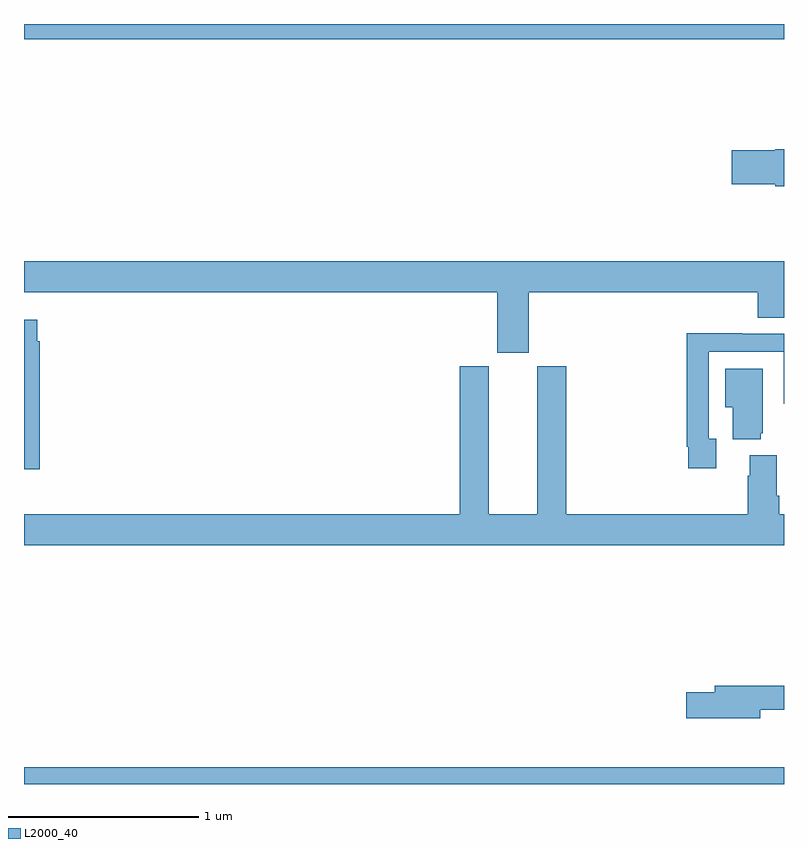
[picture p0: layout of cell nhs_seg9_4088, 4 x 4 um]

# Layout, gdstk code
import gdstk
lib = gdstk.Library(unit=1e-6, precision=1e-09)
def R(c, l, rs):  # rectangles x0, y0, x1, y1
    for r in rs: c.add(gdstk.rectangle(r[:2], r[2:], *l))
def P(c, l, *ps):  # polygons
    for p in ps: c.add(gdstk.Polygon(p, *l))
L2000_40 = (2000, 40)

nhs_seg9_4088 = lib.new_cell('nhs_seg9_4088')
R(nhs_seg9_4088, L2000_40, [(345,1192.5,349,1192.588), (345,1196.42,349,1196.5)])
P(nhs_seg9_4088, L2000_40, [(349,1195.84),(348.954,1195.84),(348.954,1195.835),(348.726,1195.835),(348.726,1195.657),(348.954,1195.657),(348.954,1195.646),(349,1195.646)],
  [(347.656,1195.088),(348.863,1195.088),(348.863,1194.955),(349,1194.955),(349,1195.252),(345,1195.252),(345,1195.088),(347.492,1195.088),(347.492,1194.771),(347.656,1194.771)],
  [(345.083,1194.83),(345.07,1194.83),(345.07,1194.943),(345,1194.943),(345,1194.156),(345.083,1194.156)],
  [(348.643,1194.318),(348.603,1194.318),(348.603,1194.774),(348.999,1194.774),(348.999,1194.501),(349,1194.501),(349,1194.87),(348.779,1194.87),(348.779,1194.872),(348.487,1194.872),(348.487,1194.274),(348.495,1194.274),(348.495,1194.162),(348.643,1194.162)],
  [(349,1193.92),(348.974,1193.92),(348.974,1194.016),(348.961,1194.016),(348.961,1194.229),(348.821,1194.229),(348.821,1194.122),(348.809,1194.122),(348.809,1193.92),(347.855,1193.92),(347.855,1194.699),(347.702,1194.699),(347.702,1193.92),(347.446,1193.92),(347.446,1194.699),(347.294,1194.699),(347.294,1193.92),(345,1193.92),(345,1193.756),(349,1193.756)],
  [(348.878,1194.345),(348.889,1194.345),(348.889,1194.685),(348.692,1194.685),(348.692,1194.482),(348.731,1194.482),(348.731,1194.314),(348.878,1194.314)],
  [(348.874,1192.89),(349,1192.89),(349,1193.018),(348.635,1193.018),(348.635,1192.982),(348.486,1192.982),(348.486,1192.847),(348.874,1192.847)])

lib.write_gds('nhs_seg9_4088.gds')
